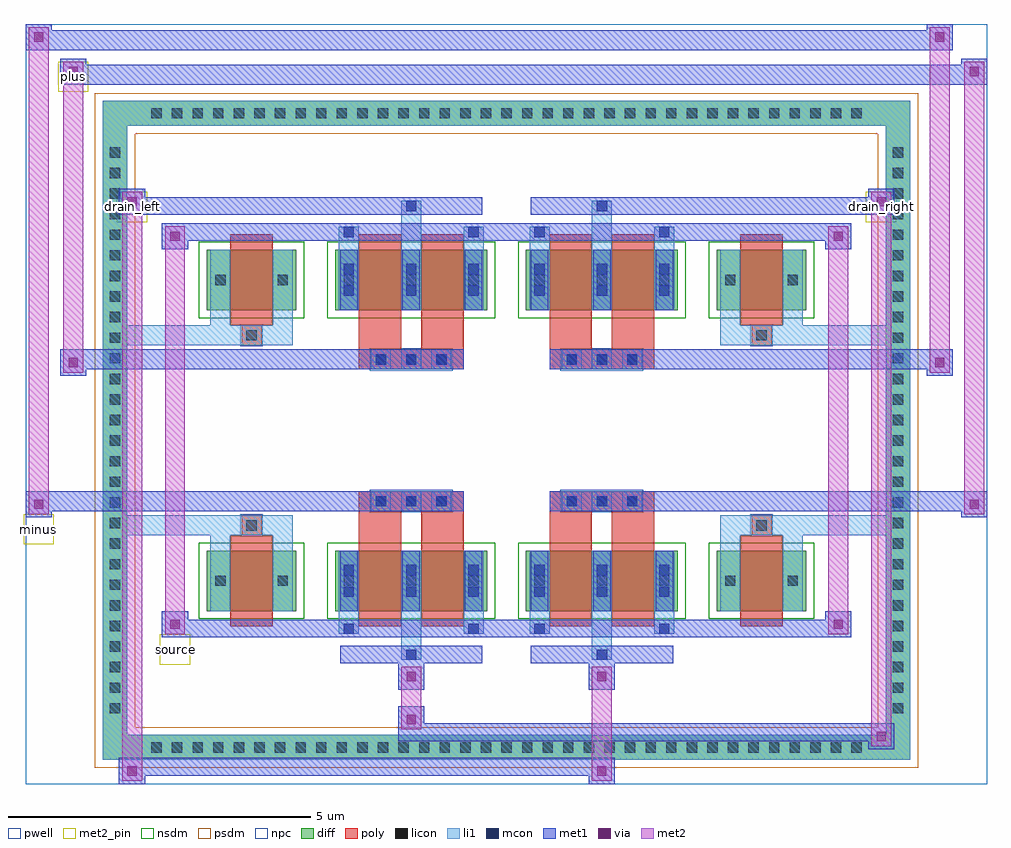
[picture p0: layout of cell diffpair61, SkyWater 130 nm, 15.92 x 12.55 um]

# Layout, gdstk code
import gdstk
lib = gdstk.Library(unit=1e-6, precision=5e-09)
def R(c, l, rs):  # rectangles x0, y0, x1, y1
    for r in rs: c.add(gdstk.rectangle(r[:2], r[2:], *l))
def A(c, l, x, y, w, h, nx, ny, dx, dy):  # array of equal rectangles
    R(c, l, [(x+i*dx, y+j*dy, x+i*dx+w, y+j*dy+h) for i in range(nx) for j in range(ny)])
def P(c, l, *ps):  # polygons
    for p in ps: c.add(gdstk.Polygon(p, *l))
pwell = (64, 44)
diff = (65, 20)
poly = (66, 20)
licon = (66, 44)
li1 = (67, 20)
mcon = (67, 44)
met1 = (68, 20)
via = (68, 44)
met2_pin = (69, 16)
met2 = (69, 20)
nsdm = (93, 44)
psdm = (94, 20)
npc = (95, 20)

diffpair61 = lib.new_cell('diffpair61')
R(diffpair61, pwell, [(-7.94,-5.84,7.94,6.71), (-5.26,-4.03,-0.01,-0.805), (0.01,-4.03,5.26,-0.805), (-5.26,0.805,-0.01,4.03), (0.01,0.805,5.26,4.03)])
A(diffpair61, diff, -5.985, -5.44, 0.41, 0.41, 35, 2, 0.34, 10.47)
A(diffpair61, diff, -6.67, -4.795, 0.41, 0.41, 1, 28, 0, 0.34)
A(diffpair61, diff, 6.26, -4.795, 0.41, 0.41, 1, 28, 0, 0.34)
R(diffpair61, diff, [(-5.985,-5.44,5.985,-5.03), (-6.67,-4.795,-6.26,4.795), (6.26,-4.795,6.67,4.795), (-4.95,-2.985,-3.47,-1.985), (-2.83,-2.985,-0.32,-1.985), (0.32,-2.985,2.83,-1.985), (3.47,-2.985,4.95,-1.985), (-4.95,1.985,-3.47,2.985), (-2.83,1.985,-0.32,2.985), (0.32,1.985,2.83,2.985), (3.47,1.985,4.95,2.985), (-5.985,5.03,5.985,5.44)])
P(diffpair61, diff, [(6.67,5.44),(-6.67,5.44),(-6.67,-5.03),(-6.26,-5.03),(-6.26,5.03),(6.26,5.03),(6.26,-5.03),(-6.26,-5.03),(-6.67,-5.03),(-6.67,-5.44),(6.67,-5.44)])
A(diffpair61, poly, -2.24, -1.335, 0.33, 0.33, 3, 2, 0.5, 2.34)
A(diffpair61, poly, 0.91, -1.335, 0.33, 0.33, 3, 2, 0.5, 2.34)
R(diffpair61, poly, [(-4.56,-3.235,-3.86,-1.735), (-2.44,-3.235,-1.74,-1.735), (-1.41,-3.235,-0.71,-1.735), (0.71,-3.235,1.41,-1.735), (1.74,-3.235,2.44,-1.735), (3.86,-3.235,4.56,-1.735), (-4.375,-1.735,-4.045,-1.405), (-4.375,-1.735,-4.045,-1.405), (-2.44,-1.735,-1.74,-1.335), (-1.41,-1.735,-0.71,-1.335), (0.71,-1.735,1.41,-1.335), (1.74,-1.735,2.44,-1.335), (4.045,-1.735,4.375,-1.405), (4.045,-1.735,4.375,-1.405), (-2.44,-1.335,-0.71,-1.005), (0.71,-1.335,2.44,-1.005), (-2.44,1.005,-0.71,1.335), (0.71,1.005,2.44,1.335), (-2.44,1.335,-1.74,1.735), (-1.41,1.335,-0.71,1.735), (0.71,1.335,1.41,1.735), (1.74,1.335,2.44,1.735), (-4.375,1.405,-4.045,1.735), (-4.375,1.405,-4.045,1.735), (4.045,1.405,4.375,1.735), (4.045,1.405,4.375,1.735), (-4.56,1.735,-3.86,3.235), (-2.44,1.735,-1.74,3.235), (-1.41,1.735,-0.71,3.235), (0.71,1.735,1.41,3.235), (1.74,1.735,2.44,3.235), (3.86,1.735,4.56,3.235)])
A(diffpair61, licon, -5.865, -5.32, 0.17, 0.17, 35, 2, 0.34, 10.47)
A(diffpair61, licon, -6.55, -4.675, 0.17, 0.17, 1, 28, 0, 0.34)
A(diffpair61, licon, 6.38, -4.675, 0.17, 0.17, 1, 28, 0, 0.34)
A(diffpair61, licon, -2.69, -2.57, 0.17, 0.17, 3, 2, 1.03, 4.97)
A(diffpair61, licon, 0.46, -2.57, 0.17, 0.17, 3, 2, 1.03, 4.97)
A(diffpair61, licon, -2.16, -1.255, 0.17, 0.17, 3, 2, 0.5, 2.34)
A(diffpair61, licon, 0.99, -1.255, 0.17, 0.17, 3, 2, 0.5, 2.34)
R(diffpair61, licon, [(-4.81,-2.57,-4.64,-2.4), (-3.78,-2.57,-3.61,-2.4), (3.61,-2.57,3.78,-2.4), (4.64,-2.57,4.81,-2.4), (-4.295,-1.655,-4.125,-1.485), (4.125,-1.655,4.295,-1.485), (-4.295,1.485,-4.125,1.655), (4.125,1.485,4.295,1.655), (-4.81,2.4,-4.64,2.57), (-3.78,2.4,-3.61,2.57), (3.61,2.4,3.78,2.57), (4.64,2.4,4.81,2.57)])
A(diffpair61, li1, -5.945, -5.4, 0.33, 0.33, 35, 2, 0.34, 10.47)
A(diffpair61, li1, -6.63, -4.755, 0.33, 0.33, 1, 28, 0, 0.34)
A(diffpair61, li1, 6.3, -4.755, 0.33, 0.33, 1, 28, 0, 0.34)
A(diffpair61, li1, -2.77, -2.985, 0.33, 1, 3, 2, 1.03, 4.97)
A(diffpair61, li1, 0.38, -2.985, 0.33, 1, 3, 2, 1.03, 4.97)
A(diffpair61, li1, -2.69, -2.75, 0.17, 0.17, 3, 2, 1.03, 0.36)
A(diffpair61, li1, -2.69, -2.75, 0.17, 0.53, 3, 2, 1.03, 4.97)
A(diffpair61, li1, 0.46, -2.75, 0.17, 0.17, 3, 2, 1.03, 0.36)
A(diffpair61, li1, 0.46, -2.75, 0.17, 0.53, 3, 2, 1.03, 4.97)
A(diffpair61, li1, -2.77, -2.65, 0.33, 0.33, 3, 2, 1.03, 4.97)
A(diffpair61, li1, 0.38, -2.65, 0.33, 0.33, 3, 2, 1.03, 4.97)
A(diffpair61, li1, -2.24, -1.335, 0.33, 0.33, 3, 2, 0.5, 2.34)
A(diffpair61, li1, 0.91, -1.335, 0.33, 0.33, 3, 2, 0.5, 2.34)
A(diffpair61, li1, -2.69, 2.22, 0.17, 0.17, 3, 2, 1.03, 0.36)
A(diffpair61, li1, 0.46, 2.22, 0.17, 0.17, 3, 2, 1.03, 0.36)
R(diffpair61, li1, [(-6.67,-5.44,-6.26,-5.03), (-6.67,-5.44,-6.26,-5.03), (-6.26,-5.44,6.26,-5.03), (6.26,-5.44,6.67,-5.03), (6.26,-5.44,6.67,-5.03), (-6.67,-5.03,-6.26,5.03), (6.26,-5.03,6.67,5.03), (-1.74,-3.79,-1.41,-2.985), (-1.66,-3.79,-1.49,-3.62), (1.41,-3.79,1.74,-2.985), (1.49,-3.79,1.66,-3.62), (-2.77,-3.36,-2.44,-2.985), (-2.69,-3.36,-2.52,-3.19), (-0.71,-3.36,-0.38,-2.985), (-0.63,-3.36,-0.46,-3.19), (0.38,-3.36,0.71,-2.985), (0.46,-3.36,0.63,-3.19), (2.44,-3.36,2.77,-2.985), (2.52,-3.36,2.69,-3.19), (-4.89,-2.985,-4.56,-1.985), (-3.86,-2.985,-3.53,-1.985), (3.53,-2.985,3.86,-1.985), (4.56,-2.985,4.89,-1.985), (-4.89,-2.65,-4.56,-2.32), (-3.86,-2.65,-3.53,-2.32), (3.53,-2.65,3.86,-2.32), (4.56,-2.65,4.89,-2.32), (-4.89,-1.985,-4.56,-1.405), (-3.86,-1.985,-3.53,-1.405), (3.53,-1.985,3.86,-1.405), (4.56,-1.985,4.89,-1.405), (-6.67,-1.735,-4.375,-1.405), (-4.89,-1.735,-4.375,-1.405), (-4.375,-1.735,-4.045,-1.405), (-4.045,-1.735,-3.53,-1.405), (3.53,-1.735,4.045,-1.405), (4.045,-1.735,4.375,-1.405), (4.045,-1.735,6.67,-1.405), (4.375,-1.735,4.89,-1.405), (-6.67,1.405,-4.375,1.735), (-4.89,1.405,-4.375,1.735), (-4.89,1.405,-4.56,1.985), (-4.375,1.405,-4.045,1.735), (-4.045,1.405,-3.53,1.735), (-3.86,1.405,-3.53,1.985), (3.53,1.405,4.045,1.735), (3.53,1.405,3.86,1.985), (4.045,1.405,4.375,1.735), (4.045,1.405,6.67,1.735), (4.375,1.405,4.89,1.735), (4.56,1.405,4.89,1.985), (-4.89,1.985,-4.56,2.985), (-3.86,1.985,-3.53,2.985), (3.53,1.985,3.86,2.985), (4.56,1.985,4.89,2.985), (-4.89,2.32,-4.56,2.65), (-3.86,2.32,-3.53,2.65), (3.53,2.32,3.86,2.65), (4.56,2.32,4.89,2.65), (-2.77,2.985,-2.44,3.36), (-1.74,2.985,-1.41,3.79), (-0.71,2.985,-0.38,3.36), (0.38,2.985,0.71,3.36), (1.41,2.985,1.74,3.79), (2.44,2.985,2.77,3.36), (-2.69,3.19,-2.52,3.36), (-0.63,3.19,-0.46,3.36), (0.46,3.19,0.63,3.36), (2.52,3.19,2.69,3.36), (-1.66,3.62,-1.49,3.79), (1.49,3.62,1.66,3.79), (-6.67,5.03,-6.26,5.44), (-6.67,5.03,-6.26,5.44), (-6.26,5.03,6.26,5.44), (6.26,5.03,6.67,5.44), (6.26,5.03,6.67,5.44)])
A(diffpair61, mcon, -2.69, -2.75, 0.17, 0.17, 3, 2, 1.03, 0.36)
A(diffpair61, mcon, 0.46, -2.75, 0.17, 0.17, 3, 2, 1.03, 0.36)
A(diffpair61, mcon, -2.16, -1.255, 0.17, 0.17, 3, 2, 0.5, 2.34)
A(diffpair61, mcon, 0.99, -1.255, 0.17, 0.17, 3, 2, 0.5, 2.34)
A(diffpair61, mcon, -2.69, 2.22, 0.17, 0.17, 3, 2, 1.03, 0.36)
A(diffpair61, mcon, 0.46, 2.22, 0.17, 0.17, 3, 2, 1.03, 0.36)
R(diffpair61, mcon, [(-1.66,-3.79,-1.49,-3.62), (1.49,-3.79,1.66,-3.62), (-2.69,-3.36,-2.52,-3.19), (-0.63,-3.36,-0.46,-3.19), (0.46,-3.36,0.63,-3.19), (2.52,-3.36,2.69,-3.19), (-2.69,3.19,-2.52,3.36), (-0.63,3.19,-0.46,3.36), (0.46,3.19,0.63,3.36), (2.52,3.19,2.69,3.36), (-1.66,3.62,-1.49,3.79), (1.49,3.62,1.66,3.79)])
A(diffpair61, met1, -2.75, -2.985, 0.29, 1, 3, 2, 1.03, 4.97)
A(diffpair61, met1, 0.4, -2.985, 0.29, 1, 3, 2, 1.03, 4.97)
A(diffpair61, met1, -2.75, -2.81, 0.29, 0.29, 3, 2, 1.03, 0.36)
A(diffpair61, met1, 0.4, -2.81, 0.29, 0.29, 3, 2, 1.03, 0.36)
A(diffpair61, met1, -2.22, -1.315, 0.29, 0.29, 3, 2, 0.5, 2.34)
A(diffpair61, met1, 0.93, -1.315, 0.29, 0.29, 3, 2, 0.5, 2.34)
A(diffpair61, met1, -2.75, 2.16, 0.29, 0.29, 3, 2, 1.03, 0.36)
A(diffpair61, met1, 0.4, 2.16, 0.29, 0.29, 3, 2, 1.03, 0.36)
R(diffpair61, met1, [(-6.4,-5.84,-5.97,-5.41), (1.36,-5.84,1.79,-5.41), (-6.4,-5.7,1.79,-5.41), (5.97,-5.27,6.4,-4.84), (-1.79,-5.13,6.4,-4.84), (-1.79,-4.99,-1.36,-4.56), (-1.79,-4.28,-1.36,-3.85), (1.36,-4.28,1.79,-3.85), (-2.75,-3.85,-0.4,-3.56), (-1.72,-3.85,-1.43,-3.56), (0.4,-3.85,2.75,-3.56), (1.43,-3.85,1.72,-3.56), (-5.69,-3.42,-5.26,-2.99), (-5.69,-3.42,-2.75,-3.13), (-2.75,-3.42,-2.46,-3.13), (-2.75,-3.42,-0.4,-3.13), (-0.69,-3.42,-0.4,-3.13), (-0.4,-3.42,0.4,-3.13), (0.4,-3.42,0.69,-3.13), (0.4,-3.42,2.75,-3.13), (2.46,-3.42,2.75,-3.13), (2.75,-3.42,5.69,-3.13), (5.26,-3.42,5.69,-2.99), (-7.94,-1.435,-7.51,-1.005), (7.51,-1.435,7.94,-1.005), (-7.94,-1.335,-0.71,-1.005), (-2.44,-1.335,-0.71,-1.005), (0.71,-1.335,2.44,-1.005), (0.71,-1.335,7.94,-1.005), (-7.37,0.905,-6.94,1.335), (6.94,0.905,7.37,1.335), (-7.37,1.005,-2.44,1.335), (-2.44,1.005,-0.71,1.335), (0.71,1.005,2.44,1.335), (2.44,1.005,7.37,1.335), (-5.69,2.99,-5.26,3.42), (5.26,2.99,5.69,3.42), (-5.69,3.13,-2.75,3.42), (-2.75,3.13,-2.46,3.42), (-2.75,3.13,-0.4,3.42), (-0.69,3.13,-0.4,3.42), (-0.4,3.13,0.4,3.42), (0.4,3.13,0.69,3.42), (0.4,3.13,2.75,3.42), (2.46,3.13,2.75,3.42), (2.75,3.13,5.69,3.42), (-6.4,3.56,-5.97,3.99), (-6.4,3.56,-2.75,3.85), (-2.75,3.56,-0.4,3.85), (-1.72,3.56,-1.43,3.85), (0.4,3.56,2.75,3.85), (1.43,3.56,1.72,3.85), (2.75,3.56,6.4,3.85), (5.97,3.56,6.4,3.99), (-7.37,5.71,-6.94,6.14), (-7.37,5.71,-5.26,6.04), (-5.26,5.71,5.26,6.04), (5.26,5.71,7.94,6.04), (7.51,5.71,7.94,6.14), (-7.94,6.28,-7.51,6.71), (-7.94,6.28,-5.26,6.61), (-5.26,6.28,5.26,6.61), (5.26,6.28,7.37,6.61), (6.94,6.28,7.37,6.71)])
R(diffpair61, via, [(-6.26,-5.7,-6.11,-5.55), (1.5,-5.7,1.65,-5.55), (6.11,-5.13,6.26,-4.98), (-1.65,-4.85,-1.5,-4.7), (-1.65,-4.14,-1.5,-3.99), (1.5,-4.14,1.65,-3.99), (-5.55,-3.28,-5.4,-3.13), (5.4,-3.28,5.55,-3.13), (-7.8,-1.295,-7.65,-1.145), (7.65,-1.295,7.8,-1.145), (-7.23,1.045,-7.08,1.195), (7.08,1.045,7.23,1.195), (-5.55,3.13,-5.4,3.28), (5.4,3.13,5.55,3.28), (-6.26,3.7,-6.11,3.85), (6.11,3.7,6.26,3.85), (-7.23,5.85,-7.08,6), (7.65,5.85,7.8,6), (-7.8,6.42,-7.65,6.57), (7.08,6.42,7.23,6.57)])
R(diffpair61, met2_pin, [(-5.725,-3.87,-5.225,-3.37), (-7.975,-1.885,-7.475,-1.385), (-6.435,3.44,-5.935,3.94), (5.935,3.44,6.435,3.94), (-7.405,5.59,-6.905,6.09)])
R(diffpair61, met2, [(-6.35,-5.79,-6.02,-5.46), (-6.35,-5.79,-6.02,3.94), (1.41,-5.79,1.74,-5.46), (1.41,-5.46,1.74,-4.23), (6.02,-5.22,6.35,-4.89), (6.02,-5.22,6.35,3.94), (-1.74,-4.94,-1.41,-4.61), (-1.74,-4.61,-1.41,-4.23), (-1.74,-4.23,-1.41,-3.9), (1.41,-4.23,1.74,-3.9), (-5.64,-3.37,-5.31,-3.04), (-5.64,-3.37,-5.31,3.37), (5.31,-3.37,5.64,-3.04), (5.31,-3.37,5.64,3.37), (-7.89,-1.385,-7.56,-1.055), (-7.89,-1.385,-7.56,6.66), (7.56,-1.385,7.89,-1.055), (7.56,-1.385,7.89,6.09), (-7.32,0.955,-6.99,1.285), (-7.32,0.955,-6.99,6.09), (6.99,0.955,7.32,1.285), (6.99,0.955,7.32,6.66), (-5.64,3.04,-5.31,3.37), (5.31,3.04,5.64,3.37), (-6.35,3.61,-6.02,3.94), (6.02,3.61,6.35,3.94), (-7.32,5.76,-6.99,6.09), (7.56,5.76,7.89,6.09), (-7.89,6.33,-7.56,6.66), (6.99,6.33,7.32,6.66)])
P(diffpair61, met2, [(7.89,-1.385),(7.89,-1.385),(7.89,-1.055),(7.89,-1.055)],
  [(7.89,5.76),(7.89,5.76),(7.89,6.09),(7.89,6.09)],
  [(-7.56,-1.385),(-7.56,-1.385),(-7.56,-1.055),(-7.56,-1.055)],
  [(-7.56,6.33),(-7.56,6.33),(-7.56,6.66),(-7.56,6.66)],
  [(7.32,0.955),(7.32,0.955),(7.32,1.285),(7.32,1.285)],
  [(7.32,6.33),(7.32,6.33),(7.32,6.66),(7.32,6.66)],
  [(-6.99,0.955),(-6.99,0.955),(-6.99,1.285),(-6.99,1.285)],
  [(-6.99,5.76),(-6.99,5.76),(-6.99,6.09),(-6.99,6.09)],
  [(-6.02,-5.79),(-6.02,-5.79),(-6.02,-5.46),(-6.02,-5.46)],
  [(-6.02,3.61),(-6.02,3.61),(-6.02,3.94),(-6.02,3.94)],
  [(6.35,-5.22),(6.35,-5.22),(6.35,-4.89),(6.35,-4.89)],
  [(6.35,3.61),(6.35,3.61),(6.35,3.94),(6.35,3.94)],
  [(-5.31,-3.37),(-5.31,-3.37),(-5.31,-3.04),(-5.31,-3.04)],
  [(-5.31,3.04),(-5.31,3.04),(-5.31,3.37),(-5.31,3.37)],
  [(5.64,-3.37),(5.64,-3.37),(5.64,-3.04),(5.64,-3.04)],
  [(5.64,3.04),(5.64,3.04),(5.64,3.37),(5.64,3.37)])
R(diffpair61, nsdm, [(-5.08,-3.115,-3.34,-1.855), (-2.96,-3.115,-0.19,-1.855), (0.19,-3.115,2.96,-1.855), (3.34,-3.115,5.08,-1.855), (-5.08,1.855,-3.34,3.115), (-2.96,1.855,-0.19,3.115), (0.19,1.855,2.96,3.115), (3.34,1.855,5.08,3.115)])
P(diffpair61, psdm, [(6.8,5.57),(-6.8,5.57),(-6.8,-4.9),(-6.13,-4.9),(-6.13,4.9),(6.13,4.9),(6.13,-4.9),(-6.13,-4.9),(-6.8,-4.9),(-6.8,-5.57),(6.8,-5.57)])
A(diffpair61, npc, -2.26, -1.355, 0.37, 0.37, 3, 2, 0.5, 2.34)
A(diffpair61, npc, 0.89, -1.355, 0.37, 0.37, 3, 2, 0.5, 2.34)
R(diffpair61, npc, [(-4.395,-1.755,-4.025,-1.385), (4.025,-1.755,4.395,-1.385), (-2.26,-1.355,-1.39,-0.985), (-2.26,-1.355,-1.39,-0.985), (-1.76,-1.355,-0.89,-0.985), (-1.76,-1.355,-0.89,-0.985), (0.89,-1.355,1.76,-0.985), (0.89,-1.355,1.76,-0.985), (1.39,-1.355,2.26,-0.985), (1.39,-1.355,2.26,-0.985), (-2.26,0.985,-1.39,1.355), (-2.26,0.985,-1.39,1.355), (-1.76,0.985,-0.89,1.355), (-1.76,0.985,-0.89,1.355), (0.89,0.985,1.76,1.355), (0.89,0.985,1.76,1.355), (1.39,0.985,2.26,1.355), (1.39,0.985,2.26,1.355), (-4.395,1.385,-4.025,1.755), (4.025,1.385,4.395,1.755)])
diffpair61.add(gdstk.Label('minus', (-7.725,-1.635), layer=69, texttype=5))
diffpair61.add(gdstk.Label('drain_right', (6.185,3.69), layer=69, texttype=5))
diffpair61.add(gdstk.Label('drain_left', (-6.185,3.69), layer=69, texttype=5))
diffpair61.add(gdstk.Label('source', (-5.475,-3.62), layer=69, texttype=5))
diffpair61.add(gdstk.Label('plus', (-7.155,5.84), layer=69, texttype=5))

lib.write_gds('diffpair61.gds')
